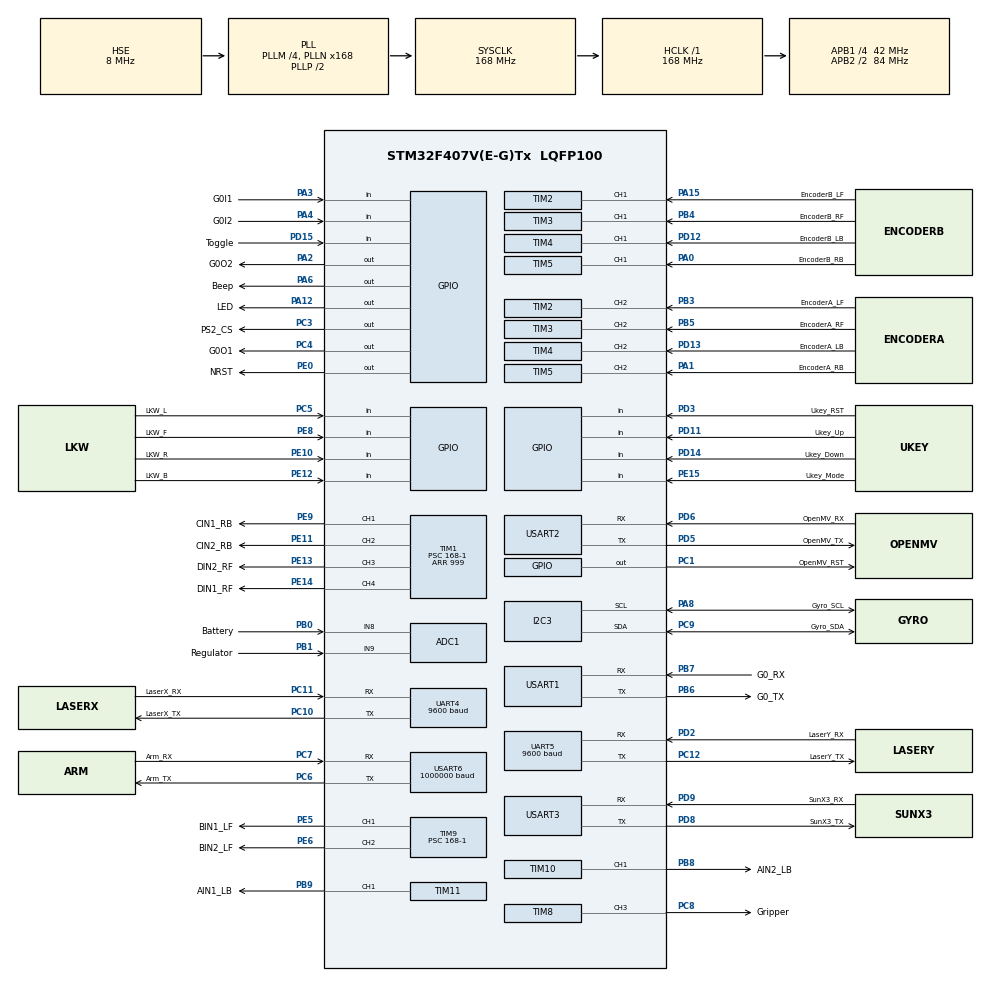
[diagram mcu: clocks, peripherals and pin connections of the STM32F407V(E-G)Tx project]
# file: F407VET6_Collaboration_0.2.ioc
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ADC1.Channel-0\#ChannelRegularConversion=ADC_CHANNEL_8
ADC1.NbrOfConversionFlag=1
ADC1.Rank-0\#ChannelRegularConversion=1
ADC1.SamplingTime-0\#ChannelRegularConversion=ADC_SAMPLETIME_3CYCLES
ADC1.master=1
Dma.Request0=USART1_RX
Dma.Request1=USART1_TX
Dma.Request2=UART4_RX
Dma.Request3=UART4_TX
Dma.Request4=UART5_RX
Dma.Request5=UART5_TX
Dma.Request6=USART3_RX
Dma.Request7=USART3_TX
Dma.Request8=USART6_RX
Dma.Request9=USART6_TX
Dma.UART4_RX.2.Direction=DMA_PERIPH_TO_MEMORY
Dma.UART4_RX.2.FIFOMode=DMA_FIFOMODE_DISABLE
Dma.UART4_RX.2.Instance=DMA1_Stream2
Dma.UART4_RX.2.MemDataAlignment=DMA_MDATAALIGN_BYTE
Dma.UART4_RX.2.MemInc=DMA_MINC_ENABLE
Dma.UART4_RX.2.Mode=DMA_NORMAL
Dma.UART4_RX.2.PeriphDataAlignment=DMA_PDATAALIGN_BYTE
Dma.UART4_RX.2.PeriphInc=DMA_PINC_DISABLE
Dma.UART4_RX.2.Priority=DMA_PRIORITY_HIGH
Dma.UART4_TX.3.Direction=DMA_MEMORY_TO_PERIPH
Dma.UART4_TX.3.FIFOMode=DMA_FIFOMODE_DISABLE
Dma.UART4_TX.3.Instance=DMA1_Stream4
Dma.UART4_TX.3.MemDataAlignment=DMA_MDATAALIGN_BYTE
Dma.UART4_TX.3.MemInc=DMA_MINC_ENABLE
Dma.UART4_TX.3.Mode=DMA_NORMAL
Dma.UART4_TX.3.PeriphDataAlignment=DMA_PDATAALIGN_BYTE
Dma.UART4_TX.3.PeriphInc=DMA_PINC_DISABLE
Dma.UART4_TX.3.Priority=DMA_PRIORITY_LOW
Dma.UART5_RX.4.Direction=DMA_PERIPH_TO_MEMORY
Dma.UART5_RX.4.FIFOMode=DMA_FIFOMODE_DISABLE
Dma.UART5_RX.4.Instance=DMA1_Stream0
Dma.UART5_RX.4.MemDataAlignment=DMA_MDATAALIGN_BYTE
Dma.UART5_RX.4.MemInc=DMA_MINC_ENABLE
Dma.UART5_RX.4.Mode=DMA_NORMAL
Dma.UART5_RX.4.PeriphDataAlignment=DMA_PDATAALIGN_BYTE
Dma.UART5_RX.4.PeriphInc=DMA_PINC_DISABLE
Dma.UART5_RX.4.Priority=DMA_PRIORITY_MEDIUM
Dma.UART5_TX.5.Direction=DMA_MEMORY_TO_PERIPH
Dma.UART5_TX.5.FIFOMode=DMA_FIFOMODE_DISABLE
Dma.UART5_TX.5.Instance=DMA1_Stream7
Dma.UART5_TX.5.MemDataAlignment=DMA_MDATAALIGN_BYTE
Dma.UART5_TX.5.MemInc=DMA_MINC_ENABLE
Dma.UART5_TX.5.Mode=DMA_NORMAL
Dma.UART5_TX.5.PeriphDataAlignment=DMA_PDATAALIGN_BYTE
Dma.UART5_TX.5.PeriphInc=DMA_PINC_DISABLE
Dma.UART5_TX.5.Priority=DMA_PRIORITY_LOW
Dma.USART1_RX.0.Direction=DMA_PERIPH_TO_MEMORY
Dma.USART1_RX.0.FIFOMode=DMA_FIFOMODE_DISABLE
Dma.USART1_RX.0.Instance=DMA2_Stream2
Dma.USART1_RX.0.MemDataAlignment=DMA_MDATAALIGN_BYTE
Dma.USART1_RX.0.MemInc=DMA_MINC_ENABLE
Dma.USART1_RX.0.Mode=DMA_NORMAL
Dma.USART1_RX.0.PeriphDataAlignment=DMA_PDATAALIGN_BYTE
Dma.USART1_RX.0.PeriphInc=DMA_PINC_DISABLE
Dma.USART1_RX.0.Priority=DMA_PRIORITY_LOW
Dma.USART1_TX.1.Direction=DMA_MEMORY_TO_PERIPH
Dma.USART1_TX.1.FIFOMode=DMA_FIFOMODE_DISABLE
Dma.USART1_TX.1.Instance=DMA2_Stream7
Dma.USART1_TX.1.MemDataAlignment=DMA_MDATAALIGN_BYTE
Dma.USART1_TX.1.MemInc=DMA_MINC_ENABLE
Dma.USART1_TX.1.Mode=DMA_NORMAL
Dma.USART1_TX.1.PeriphDataAlignment=DMA_PDATAALIGN_BYTE
Dma.USART1_TX.1.PeriphInc=DMA_PINC_DISABLE
Dma.USART1_TX.1.Priority=DMA_PRIORITY_LOW
Dma.USART3_RX.6.Direction=DMA_PERIPH_TO_MEMORY
Dma.USART3_RX.6.FIFOMode=DMA_FIFOMODE_DISABLE
Dma.USART3_RX.6.Instance=DMA1_Stream1
Dma.USART3_RX.6.MemDataAlignment=DMA_MDATAALIGN_BYTE
Dma.USART3_RX.6.MemInc=DMA_MINC_ENABLE
Dma.USART3_RX.6.Mode=DMA_NORMAL
Dma.USART3_RX.6.PeriphDataAlignment=DMA_PDATAALIGN_BYTE
Dma.USART3_RX.6.PeriphInc=DMA_PINC_DISABLE
Dma.USART3_RX.6.Priority=DMA_PRIORITY_LOW
Dma.USART3_TX.7.Direction=DMA_MEMORY_TO_PERIPH
Dma.USART3_TX.7.FIFOMode=DMA_FIFOMODE_DISABLE
Dma.USART3_TX.7.Instance=DMA1_Stream3
Dma.USART3_TX.7.MemDataAlignment=DMA_MDATAALIGN_BYTE
Dma.USART3_TX.7.MemInc=DMA_MINC_ENABLE
Dma.USART3_TX.7.Mode=DMA_NORMAL
Dma.USART3_TX.7.PeriphDataAlignment=DMA_PDATAALIGN_BYTE
Dma.USART3_TX.7.PeriphInc=DMA_PINC_DISABLE
Dma.USART3_TX.7.Priority=DMA_PRIORITY_LOW
Dma.USART6_RX.8.Direction=DMA_PERIPH_TO_MEMORY
Dma.USART6_RX.8.FIFOMode=DMA_FIFOMODE_DISABLE
Dma.USART6_RX.8.Instance=DMA2_Stream1
Dma.USART6_RX.8.MemDataAlignment=DMA_MDATAALIGN_BYTE
Dma.USART6_RX.8.MemInc=DMA_MINC_ENABLE
Dma.USART6_RX.8.Mode=DMA_NORMAL
Dma.USART6_RX.8.PeriphDataAlignment=DMA_PDATAALIGN_BYTE
Dma.USART6_RX.8.PeriphInc=DMA_PINC_DISABLE
Dma.USART6_RX.8.Priority=DMA_PRIORITY_LOW
Dma.USART6_TX.9.Direction=DMA_MEMORY_TO_PERIPH
Dma.USART6_TX.9.FIFOMode=DMA_FIFOMODE_DISABLE
Dma.USART6_TX.9.Instance=DMA2_Stream6
Dma.USART6_TX.9.MemDataAlignment=DMA_MDATAALIGN_BYTE
Dma.USART6_TX.9.MemInc=DMA_MINC_ENABLE
Dma.USART6_TX.9.Mode=DMA_NORMAL
Dma.USART6_TX.9.PeriphDataAlignment=DMA_PDATAALIGN_BYTE
Dma.USART6_TX.9.PeriphInc=DMA_PINC_DISABLE
Dma.USART6_TX.9.Priority=DMA_PRIORITY_LOW
Mcu.Family=STM32F4
Mcu.Name=STM32F407V(E-G)Tx
Mcu.Package=LQFP100
NVIC.DMA1_Stream0_IRQn=true\:1\:0\:true\:false\:true\:true\:true\:true
NVIC.DMA1_Stream1_IRQn=true\:1\:0\:true\:false\:true\:true\:true\:true
NVIC.DMA1_Stream2_IRQn=true\:1\:0\:true\:false\:true\:true\:true\:true
NVIC.DMA1_Stream3_IRQn=true\:1\:0\:true\:false\:true\:true\:true\:true
NVIC.DMA1_Stream4_IRQn=true\:1\:0\:true\:false\:true\:true\:true\:true
NVIC.DMA1_Stream7_IRQn=true\:1\:0\:true\:false\:true\:true\:true\:true
NVIC.DMA2_Stream1_IRQn=true\:1\:0\:true\:false\:true\:true\:true\:true
NVIC.DMA2_Stream2_IRQn=true\:1\:0\:true\:false\:true\:true\:true\:true
NVIC.DMA2_Stream6_IRQn=true\:1\:0\:true\:false\:true\:true\:true\:true
NVIC.DMA2_Stream7_IRQn=true\:1\:0\:true\:false\:true\:false\:true\:true
NVIC.PriorityGroup=NVIC_PRIORITYGROUP_2
NVIC.TIM6_DAC_IRQn=true\:1\:0\:true\:false\:true\:true\:true\:true
NVIC.TIM7_IRQn=true\:1\:0\:true\:false\:true\:true\:true\:true
NVIC.TIM8_BRK_TIM12_IRQn=true\:1\:0\:true\:false\:true\:true\:true\:true
NVIC.UART4_IRQn=true\:2\:0\:true\:false\:true\:true\:true\:true
NVIC.UART5_IRQn=true\:2\:0\:true\:false\:true\:true\:true\:true
NVIC.USART1_IRQn=true\:2\:0\:true\:false\:true\:true\:true\:true
NVIC.USART3_IRQn=true\:1\:0\:true\:false\:true\:true\:true\:true
NVIC.USART6_IRQn=true\:0\:0\:true\:false\:true\:true\:true\:true
PA0-WKUP.GPIO_Label=EncoderB_RB
PA0-WKUP.Signal=S_TIM5_CH1
PA1.GPIO_Label=EncoderA_RB
PA1.Signal=S_TIM5_CH2
PA12.GPIO_Label=LED
PA12.PinState=GPIO_PIN_SET
PA12.Signal=GPIO_Output
PA13.Mode=Serial_Wire
PA13.Signal=SYS_JTMS-SWDIO
PA14.Mode=Serial_Wire
PA14.Signal=SYS_JTCK-SWCLK
PA15.GPIO_Label=EncoderB_LF
PA15.Signal=S_TIM2_CH1_ETR
PA2.GPIO_Label=G0O2
PA2.PinState=GPIO_PIN_SET
PA2.Signal=GPIO_Output
PA3.GPIO_Label=G0I1
PA3.GPIO_PuPd=GPIO_PULLUP
PA3.Signal=GPIO_Input
PA4.GPIO_Label=G0I2
PA4.GPIO_PuPd=GPIO_PULLUP
PA4.Signal=GPIO_Input
PA6.GPIO_Label=Beep
PA6.Signal=GPIO_Output
PA8.GPIO_Label=Gyro_SCL
PA8.GPIO_Pu=GPIO_NOPULL
PA8.Mode=I2C
PA8.Signal=I2C3_SCL
PB0.GPIO_Label=Battery
PB0.Signal=ADCx_IN8
PB1.GPIO_Label=Regulator
PB1.Signal=ADCx_IN9
PB3.GPIO_Label=EncoderA_LF
PB3.Signal=S_TIM2_CH2
PB4.GPIO_Label=EncoderB_RF
PB4.Signal=S_TIM3_CH1
PB5.GPIO_Label=EncoderA_RF
PB5.Signal=S_TIM3_CH2
PB6.GPIO_Label=G0_TX
PB6.Mode=Asynchronous
PB6.Signal=USART1_TX
PB7.GPIO_Label=G0_RX
PB7.Mode=Asynchronous
PB7.Signal=USART1_RX
PB8.GPIO_Label=AIN2_LB
PB8.Signal=S_TIM10_CH1
PB9.GPIO_Label=AIN1_LB
PB9.Signal=S_TIM11_CH1
PC1.GPIO_Label=OpenMV_RST
PC1.PinState=GPIO_PIN_SET
PC1.Signal=GPIO_Output
PC10.GPIO_Label=LaserX_TX
PC10.Mode=Asynchronous
PC10.Signal=UART4_TX
PC11.GPIO_Label=LaserX_RX
PC11.Mode=Asynchronous
PC11.Signal=UART4_RX
PC12.GPIO_Label=LaserY_TX
PC12.Mode=Asynchronous
PC12.Signal=UART5_TX
PC3.GPIO_Label=PS2_CS
PC3.Signal=GPIO_Output
PC4.GPIO_Label=G0O1
PC4.PinState=GPIO_PIN_SET
PC4.Signal=GPIO_Output
PC5.GPIO_Label=LKW_L
PC5.GPIO_PuPd=GPIO_PULLUP
PC5.Signal=GPIO_Input
PC6.GPIO_Label=Arm_TX
PC6.Mode=Asynchronous
PC6.Signal=USART6_TX
PC7.GPIO_Label=Arm_RX
PC7.Mode=Asynchronous
PC7.Signal=USART6_RX
PC8.GPIO_Label=Gripper
PC8.Signal=S_TIM8_CH3
PC9.GPIO_Label=Gyro_SDA
PC9.Mode=I2C
PC9.Signal=I2C3_SDA
PD11.GPIO_Label=Ukey_Up
PD11.GPIO_PuPd=GPIO_PULLUP
PD11.Signal=GPIO_Input
PD12.GPIO_Label=EncoderB_LB
PD12.Signal=S_TIM4_CH1
PD13.GPIO_Label=EncoderA_LB
PD13.Signal=S_TIM4_CH2
PD14.GPIO_Label=Ukey_Down
PD14.GPIO_PuPd=GPIO_PULLUP
PD14.Signal=GPIO_Input
PD15.GPIO_Label=Toggle
PD15.GPIO_PuPd=GPIO_PULLUP
PD15.Signal=GPIO_Input
PD2.GPIO_Label=LaserY_RX
PD2.Mode=Asynchronous
PD2.Signal=UART5_RX
PD3.GPIO_Label=Ukey_RST
PD3.GPIO_PuPd=GPIO_PULLUP
PD3.Signal=GPIO_Input
PD5.GPIO_Label=OpenMV_TX
PD5.Mode=Asynchronous
PD5.Signal=USART2_TX
PD6.GPIO_Label=OpenMV_RX
PD6.Mode=Asynchronous
PD6.Signal=USART2_RX
PD8.GPIO_Label=SunX3_TX
PD8.Mode=Asynchronous
PD8.Signal=USART3_TX
PD9.GPIO_Label=SunX3_RX
PD9.Mode=Asynchronous
PD9.Signal=USART3_RX
PE0.GPIO_Label=NRST
PE0.GPIO_ModeDefaultOutputPP=GPIO_MODE_OUTPUT_OD
PE0.GPIO_PuPd=GPIO_NOPULL
PE0.PinState=GPIO_PIN_SET
PE0.Signal=GPIO_Output
PE10.GPIO_Label=LKW_R
PE10.GPIO_PuPd=GPIO_PULLUP
PE10.Signal=GPIO_Input
PE11.GPIO_Label=CIN2_RB
PE11.Signal=S_TIM1_CH2
PE12.GPIO_Label=LKW_B
PE12.GPIO_PuPd=GPIO_PULLUP
PE12.Signal=GPIO_Input
PE13.GPIO_Label=DIN2_RF
PE13.Signal=S_TIM1_CH3
PE14.GPIO_Label=DIN1_RF
PE14.Signal=S_TIM1_CH4
PE15.GPIO_Label=Ukey_Mode
PE15.GPIO_PuPd=GPIO_PULLUP
PE15.Signal=GPIO_Input
PE5.GPIO_Label=BIN1_LF
PE5.Signal=S_TIM9_CH1
PE6.GPIO_Label=BIN2_LF
PE6.Signal=S_TIM9_CH2
PE8.GPIO_Label=LKW_F
PE8.GPIO_PuPd=GPIO_PULLUP
PE8.Signal=GPIO_Input
PE9.GPIO_Label=CIN1_RB
PE9.Signal=S_TIM1_CH1
PH0-OSC_IN.Mode=HSE-External-Oscillator
PH0-OSC_IN.Signal=RCC_OSC_IN
PH1-OSC_OUT.Mode=HSE-External-Oscillator
PH1-OSC_OUT.Signal=RCC_OSC_OUT
ProjectManager.HeapSize=0x200
ProjectManager.StackSize=0x400
ProjectManager.TargetToolchain=MDK-ARM V5.32
RCC.48MHZClocksFreq_Value=84000000
RCC.AHBFreq_Value=168000000
RCC.APB1CLKDivider=RCC_HCLK_DIV4
RCC.APB1Freq_Value=42000000
RCC.APB1TimFreq_Value=84000000
RCC.APB2CLKDivider=RCC_HCLK_DIV2
RCC.APB2Freq_Value=84000000
RCC.APB2TimFreq_Value=168000000
RCC.CortexFreq_Value=168000000
RCC.HCLKFreq_Value=168000000
RCC.HSE_VALUE=8000000
RCC.HSI_VALUE=16000000
RCC.LSE_VALUE=32768
RCC.PLLM=4
RCC.PLLN=168
RCC.PLLSourceVirtual=RCC_PLLSOURCE_HSE
RCC.SYSCLKFreq_VALUE=168000000
RCC.SYSCLKSource=RCC_SYSCLKSOURCE_PLLCLK
RCC.VCOOutputFreq_Value=336000000
SH.ADCx_IN8.0=ADC1_IN8,IN8
SH.ADCx_IN9.0=ADC1_IN9,IN9
SH.S_TIM10_CH1.0=TIM10_CH1,PWM Generation1 CH1
SH.S_TIM11_CH1.0=TIM11_CH1,PWM Generation1 CH1
SH.S_TIM1_CH1.0=TIM1_CH1,PWM Generation1 CH1
SH.S_TIM1_CH2.0=TIM1_CH2,PWM Generation2 CH2
SH.S_TIM1_CH3.0=TIM1_CH3,PWM Generation3 CH3
SH.S_TIM1_CH4.0=TIM1_CH4,PWM Generation4 CH4
SH.S_TIM2_CH1_ETR.0=TIM2_CH1,Encoder_Interface
SH.S_TIM2_CH2.0=TIM2_CH2,Encoder_Interface
SH.S_TIM3_CH1.0=TIM3_CH1,Encoder_Interface
SH.S_TIM3_CH2.0=TIM3_CH2,Encoder_Interface
SH.S_TIM4_CH1.0=TIM4_CH1,Encoder_Interface
SH.S_TIM4_CH2.0=TIM4_CH2,Encoder_Interface
SH.S_TIM5_CH1.0=TIM5_CH1,Encoder_Interface
SH.S_TIM5_CH2.0=TIM5_CH2,Encoder_Interface
SH.S_TIM8_CH3.0=TIM8_CH3,PWM Generation3 CH3
SH.S_TIM9_CH1.0=TIM9_CH1,PWM Generation1 CH1
SH.S_TIM9_CH2.0=TIM9_CH2,PWM Generation2 CH2
TIM1.AutoReloadPreload=TIM_AUTORELOAD_PRELOAD_ENABLE
TIM1.Channel-PWM\ Generation1\ CH1=TIM_CHANNEL_1
TIM1.Channel-PWM\ Generation2\ CH2=TIM_CHANNEL_2
TIM1.Channel-PWM\ Generation3\ CH3=TIM_CHANNEL_3
TIM1.Channel-PWM\ Generation4\ CH4=TIM_CHANNEL_4
TIM1.Period=999
TIM1.Prescaler=168-1
TIM10.AutoReloadPreload=TIM_AUTORELOAD_PRELOAD_ENABLE
TIM10.Channel=TIM_CHANNEL_1
TIM10.Period=999
TIM10.Prescaler=168-1
TIM11.AutoReloadPreload=TIM_AUTORELOAD_PRELOAD_ENABLE
TIM11.Channel=TIM_CHANNEL_1
TIM11.Period=999
TIM11.Prescaler=168-1
TIM12.AutoReloadPreload=TIM_AUTORELOAD_PRELOAD_ENABLE
TIM12.Period=1000-1
TIM12.Prescaler=84-1
TIM14.AutoReloadPreload=TIM_AUTORELOAD_PRELOAD_ENABLE
TIM14.Period=84-1
TIM14.Prescaler=0
TIM2.EncoderMode=TIM_ENCODERMODE_TI12
TIM2.IC1Filter=10
TIM2.IC2Filter=10
TIM3.EncoderMode=TIM_ENCODERMODE_TI12
TIM3.IC1Filter=10
TIM3.IC2Filter=10
TIM4.EncoderMode=TIM_ENCODERMODE_TI12
TIM4.IC1Filter=10
TIM4.IC2Filter=10
TIM5.EncoderMode=TIM_ENCODERMODE_TI12
TIM5.IC1Filter=10
TIM5.IC2Filter=10
TIM6.AutoReloadPreload=TIM_AUTORELOAD_PRELOAD_ENABLE
TIM6.Period=1000-1
TIM6.Prescaler=84-1
TIM7.AutoReloadPreload=TIM_AUTORELOAD_PRELOAD_ENABLE
TIM7.Period=1000-1
TIM7.Prescaler=84-1
TIM8.AutoReloadPreload=TIM_AUTORELOAD_PRELOAD_ENABLE
TIM8.Channel-PWM\ Generation3\ CH3=TIM_CHANNEL_3
TIM8.Period=1000-1
TIM8.Prescaler=168-1
TIM9.AutoReloadPreload=TIM_AUTORELOAD_PRELOAD_ENABLE
TIM9.Channel-PWM\ Generation1\ CH1=TIM_CHANNEL_1
TIM9.Channel-PWM\ Generation2\ CH2=TIM_CHANNEL_2
TIM9.Period=999
TIM9.Prescaler=168-1
UART4.BaudRate=9600
UART4.VirtualMode=Asynchronous
UART5.BaudRate=9600
UART5.VirtualMode=Asynchronous
USART1.VirtualMode=VM_ASYNC
USART2.VirtualMode=VM_ASYNC
USART3.VirtualMode=VM_ASYNC
USART6.BaudRate=1000000
USART6.VirtualMode=VM_ASYNC
VP_TIM10_VS_ClockSourceINT.Mode=Enable_Timer
VP_TIM11_VS_ClockSourceINT.Mode=Enable_Timer
VP_TIM12_VS_ClockSourceINT.Mode=Internal
VP_TIM14_VS_ClockSourceINT.Mode=Enable_Timer
VP_TIM1_VS_ClockSourceINT.Mode=Internal
VP_TIM6_VS_ClockSourceINT.Mode=Enable_Timer
VP_TIM7_VS_ClockSourceINT.Mode=Enable_Timer
VP_TIM8_VS_ClockSourceINT.Mode=Internal
VP_TIM9_VS_ClockSourceINT.Mode=Internal
board=custom

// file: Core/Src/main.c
/* USER CODE BEGIN Header */
/**
  ******************************************************************************
  * @file           : main.c
  * @brief          : Main program body
  ******************************************************************************
  * @attention
  *
  * Copyright (c) 2023 STMicroelectronics.
  * All rights reserved.
  *
  * This software is licensed under terms that can be found in the LICENSE file
  * in the root directory of this software component.
  * If no LICENSE file comes with this software, it is provided AS-IS.
  *
  ******************************************************************************
  */
/* USER CODE END Header */
#include "main.h"
#include "adc.h"
#include "dma.h"
#include "i2c.h"
#include "tim.h"
#include "usart.h"
#include "gpio.h"

/* USER CODE BEGIN Includes */
#include <stdio.h>
#include <stdlib.h>
#include "SCServo.h"
#include "motor.h"
#include "control.h"
#include "wt9011g4k.h"
#include "laser.h"
#include "delay.h"

/* USER CODE END Includes */

/* USER CODE BEGIN PV */
//用于定时器6中的变量，用于PID控制
volatile uint32_t PID_TimerCount = 0;

//用于定时器7中的变量，控制不同的动作
volatile uint32_t Task1  = 0;

//PID标志位
uint8_t PID_Flag;

uint8_t Run_Flag=0,Run_Flag_Start=0,Chassis_mode=0,Back_mode=0,ARM_mode=6;

//清除多余编码器数值标志位
uint8_t Clean_Flag=0;

//X轴,Y轴完成调整标志位
uint8_t X_Flag=0,Y_Flag=0;

//激光调试标志位
uint8_t X=0,Y=0;

//陀螺仪开始取值完成标志位
uint8_t Get_Start_WT9011G4K_Angle_Flag=0;

//PID切换标志位
/*
* Change_PID_Flag = 0 -> 用于运动PID
* Change_PID_Flag = 1 -> 用于陀螺仪PID
* Change_PID_Flag = 2 -> 用于激光PID
* Change_PID_Flag = 3 -> 用于拖动
*/
uint8_t Change_PID_Flag=0;

//每个任务标志位
/*
* mission_step = 1  ->出库任务
*
* mission_step = 2  ->扫码电机任务
* mission_step = 3  ->扫码操作任务
*
* mission_step = 4  ->第1轮取料1电机任务
* mission_step = 5  ->第1轮取料1操作任务
*
* mission_step = 6  ->第1轮转弯1操作任务
* mission_step = 7  ->第1轮转弯1微调任务
*
* mission_step = 8  ->第1轮物流放置1电机任务
* mission_step = 9  ->第1轮物流放置1操作任务
*
* mission_step = 10  ->第1轮转弯2操作任务
* mission_step = 11  ->第1轮转弯2微调任务
*
* mission_step = 12 ->第1轮物流放置2电机任务
* mission_step = 13 ->第1轮物流放置2操作任务
*
* mission_step = 14 ->第1轮转弯3操作任务
* mission_step = 15 ->第1轮转弯3微调任务
*
* mission_step = 16 ->第1轮转弯4操作任务
* mission_step = 17 ->第1轮转弯4微调任务
*/
uint16_t mission_step=1;

uint8_t TxBuf[8] = {0xFF,0xFF,0x06,0x03,0x03,0x2A,0xC8,0x01};

//UART 读数据缓冲区
__IO uint8_t uartBuf[128];
__IO int head = 0;
__IO int tail  = 0;

struct
{
	int8_t Beep;
	int8_t Beep_Loop;
}Delay_Flag;		//传感器计时开始标志位

struct
{
	int32_t Beep;
	int32_t Beep_Loop;
}t_ms;					//传感器毫秒计时

struct
{
	int8_t Beep;
	int8_t Beep_Loop;
	int8_t Arm_Up;
	int8_t Arm_Down;
}Flag;					//传感器开启标志位

int16_t Beep_t=0,Beep_Loop=0,Beep_Loop_ms=0,Beep_Loop_t=0;
uint8_t UkeyCount_R=0,UkeyCount_M=0,UkeyCount_U=0,UkeyCount_D=0,UkeyCount_T=0;	//UkeyCount	表示	按键计数变量
uint8_t UkeyFlag_R=0,	UkeyFlag_M=0,	UkeyFlag_U=0,	UkeyFlag_D=0,	UkeyFlag_T=0;		//UkeyFlag	表示	重按键标志,	1代表重新按键,	0为没有重新按键
uint8_t UkeyState_R=0,UkeyState_M=0,UkeyState_U=0,UkeyState_D=0,UkeyState_T=0;	//UkeyState	表示	按键标志,		1代表按下,			0代表松开

/* USER CODE END PV */

void SystemClock_Config(void);
/* USER CODE BEGIN PFP */
void Beep_Init(void);
void Encoder_Init(void);
void RST_Enable(void);
void Beep_Enable(void);
void Beep_ms(uint16_t t);
void Beep_Loop_Cycle(uint16_t Beep_delay,uint8_t Loop,uint16_t Cycle);

/* USER CODE END PFP */

int main(void)
{
  /* USER CODE BEGIN 1 */
	Flag.Arm_Up=0;
  /* USER CODE END 1 */

  /* MCU Configuration--------------------------------------------------------*/

  /* Reset of all peripherals, Initializes the Flash interface and the Systick. */
  HAL_Init();

  /* USER CODE BEGIN Init */
	Beep_Init();
	Flag.Arm_Up=-1;
	Flag.Arm_Down=0;

  /* USER CODE END Init */

  /* Configure the system clock */
  SystemClock_Config();

  /* Initialize all configured peripherals */
  MX_GPIO_Init();
  MX_DMA_Init();
  MX_UART4_Init();
  MX_UART5_Init();
  MX_USART1_UART_Init();
  MX_USART2_UART_Init();
  MX_USART3_UART_Init();
  MX_USART6_UART_Init();
  MX_ADC1_Init();
  MX_TIM1_Init();
  MX_TIM2_Init();
  MX_TIM3_Init();
  MX_TIM4_Init();
  MX_TIM5_Init();
  MX_TIM6_Init();
  MX_TIM8_Init();
  MX_TIM9_Init();
  MX_TIM10_Init();
  MX_TIM11_Init();
  MX_TIM7_Init();
  MX_TIM12_Init();
  MX_TIM14_Init();
  MX_I2C3_Init();
  /* USER CODE BEGIN 2 */

	HAL_TIM_Base_Start_IT(&htim6);
//  HAL_TIM_Base_Start_IT(&htim7);
  HAL_TIM_Base_Start_IT(&htim12);

  //开启PWM波生成
	HAL_TIM_PWM_Start_IT(&htim1,TIM_CHANNEL_1);
	HAL_TIM_PWM_Start_IT(&htim1,TIM_CHANNEL_2);
	HAL_TIM_PWM_Start_IT(&htim1,TIM_CHANNEL_3);
	HAL_TIM_PWM_Start_IT(&htim1,TIM_CHANNEL_4);
	HAL_TIM_PWM_Start_IT(&htim9,TIM_CHANNEL_1);
	HAL_TIM_PWM_Start_IT(&htim9,TIM_CHANNEL_2);
	HAL_TIM_PWM_Start_IT(&htim10,TIM_CHANNEL_1);
	HAL_TIM_PWM_Start_IT(&htim11,TIM_CHANNEL_1);

  //开启编码器
  HAL_TIM_Encoder_Start(&htim2,TIM_CHANNEL_ALL);
  HAL_TIM_Encoder_Start(&htim3,TIM_CHANNEL_ALL);
  HAL_TIM_Encoder_Start(&htim4,TIM_CHANNEL_ALL);
  HAL_TIM_Encoder_Start(&htim5,TIM_CHANNEL_ALL);

  //陀螺仪初始化
  WT9011G4K_Init(&WT9011G4K_Data);
  //X轴激光测距初始化
  LaserX_Init(&LaserX);
  //Y轴激光测距初始化
  LaserY_Init(&LaserY);

  /* USER CODE END 2 */

  /* Infinite loop */
  /* USER CODE BEGIN WHILE */
  while (1)
  {

		RST_Enable();
		Beep_Enable();

//    if(Run_Flag == 0)
//		{
//			if(UkeyState_T == 1||UkeyState_M == 1)
//			{
//				Run_Flag=1;
//				if(HAL_GPIO_ReadPin(Ukey_Mode_GPIO_Port,Ukey_Mode_Pin) == GPIO_PIN_RESET)
//        {
//					Back_mode = 1;
//        }
//				if(HAL_GPIO_ReadPin(Toggle_GPIO_Port,Toggle_Pin) == GPIO_PIN_RESET)
//        {
//          Chassis_mode  = 1;
//        }
//          UkeyState_T=0;
//          UkeyState_M=0;
//			}
//		}

		if(UkeyState_M)
		{
			Beep_Loop_Cycle(30,1,100);
			UkeyState_M=0;
		}
		if(UkeyState_U)
		{
			Beep_Loop_Cycle(30,2,100);
			Flag.Arm_Up=1;
			UkeyState_U=0;
		}
		if(UkeyState_D)
		{
			Beep_Loop_Cycle(30,3,100);
			Flag.Arm_Up=0;
			UkeyState_D=0;
		}
		if(Flag.Arm_Up==1&&Beep_Loop==1)
		{
			WritePosEx(1, 3071, 1200, 0);	//舵机(ID1),以最高速度V=60步/秒,加速度A=20(50*100步/秒^2),运行至P1=3092
			WritePosEx(2, 2047, 1000, 0);
			WritePosEx(3, 2047, 3000, 0);
			WritePosEx(4, 3088, 2000, 0);
			WritePosEx(5, 2047, 2000, 0);

			Flag.Arm_Up=-1;
		}
		if(Flag.Arm_Up==0&&Beep_Loop==1)
		{
//			WritePosEx(1, 3071, 1200, 0);	//舵机(ID1),以最高速度V=60步/秒,加速度A=20(50*100步/秒^2),运行至P1=3092
//			WritePosEx(2, 1620, 1000, 0);
//			WritePosEx(3, 1410, 3000, 0);
//			WritePosEx(4, 3088, 2000, 0);
//			WritePosEx(5, 720, 2000, 0);
//			WritePos(6,1, 2000, 1);

			WritePosEx(1, 3092, 1200, 0);	//舵机(ID1),以最高速度V=60步/秒,加速度A=20(50*100步/秒^2),运行至P1=3092
			WritePosEx(2, 2709, 1000, 0);
			WritePosEx(3, 547, 3000, 0);
			WritePosEx(4, 3088, 2000, 0);
			WritePosEx(5, 877, 2000, 0);

			Flag.Arm_Up=-1;
		}

		if(UkeyState_T)
		{
			Beep_ms(100);
			Chassis_mode  = 1;
//			Beep_Loop_Cycle(30,4,100);
			UkeyState_T=0;
		}

    /*
     *
     * 以下是各种传感器数据处理的区域
     *
     */

      //PID数据处理
      if(PID_Flag == 1)
      {
        //PID控制权在运动PID
        if(Change_PID_Flag==0)
        {
          RF_Position_Incremental_PID();
          LB_Position_Incremental_PID();
          LF_Position_Incremental_PID();
          RB_Position_Incremental_PID();
        }

        //PID控制权在陀螺仪PID
        if(Change_PID_Flag==1 && Get_Start_WT9011G4K_Angle_Flag==1)
        {
          RF_Position_Incremental_PID_WT9011G4K();
          LF_Position_Incremental_PID_WT9011G4K();
          LB_Position_Incremental_PID_WT9011G4K();
          RB_Position_Incremental_PID_WT9011G4K();
        }

        //PID控制权在激光PID
        if(Change_PID_Flag==2 && X==1 && Y==1)
        {
          RF_Position_Incremental_PID_LASER();
          LF_Position_Incremental_PID_LASER();
          LB_Position_Incremental_PID_LASER();
          RB_Position_Incremental_PID_LASER();
        }

        //用于拖动
        if(Change_PID_Flag==3)
        {
        }

        PID_Flag = 0;
      }

    //这里会导致按键不灵敏
    //陀螺仪数据处理
    if(WT9011G4K_Data.Rx_flag == 1)
    {
      WT9011G4K_Process();
      WT9011G4K_Data.Rx_flag=0;
    }

    //X轴激光测距处理函数
    if(LaserX.Rx_flag == 1)
    {
      LaserX_Process();
      LaserX.Rx_flag=0;
    }

    //Y轴激光测距处理函数
    if(LaserY.Rx_flag == 1)
    {
      LaserY_Process();
      LaserY.Rx_flag=0;
    }

    /*
     *
     * 以上是各种传感器数据处理的区域
     *
     */

  /*
   *
   * 以下是任务执行区域
   *
   */
    if(Chassis_mode)
    {
			Encoder_Init();
			if(mission_step == 1 && Task1 <= 10000)	//出库
			{
				speed_4(20,20,20,20);
				go_4(-1320*0.50,-1320*0.50,1320*0.50,1320*0.50);
				if((1320*0.50 - Reality_Position_LB) < 6)
				{
					Chassis_OFF();
					mission_step++;
					Task1 = 0;
					Beep_ms(100);
				}
			}
		  if(mission_step == 2 && Task1 <= 10000)	//到原料区 (*2.5)
			{
				speed_4(20,20,20,20);
				go_4(-1320*5.8,1320*5.8,1320*5.8,-1320*5.8);
				if((1320*5.8 - Reality_Position_LF) < 6)
				{
					Chassis_OFF();
					mission_step++;
					Task1 = 0;
					Beep_ms(100);
				}
			}

			if(mission_step==3 && Task1 <= 3000)
			{
				WritePosEx(1, 3071, 1200, 0);	//舵机(ID1),以最高速度V=60步/秒,加速度A=20(50*100步/秒^2),运行至P1=3092
				WritePosEx(2, 2709, 1000, 0);
				WritePosEx(3, 900, 3000, 0);
				WritePosEx(4, 3088, 2000, 0);
				WritePosEx(5, 877, 2000, 0);
				WritePos(6,1, 2000, 1);
				if(Task1 > 1600)
				{
					mission_step++;
					Task1=0;
					Beep_ms(100);
				}
			}
			if(mission_step==4 && Task1 <= 4000)
			{
				WritePosEx(1, 3071, 1200, 0);	//舵机(ID1),以最高速度V=60步/秒,加速度A=20(50*100步/秒^2),运行至P1=3092
				WritePosEx(2, 1620, 1000, 0);
				WritePosEx(3, 1410, 3000, 0);
				WritePosEx(4, 3088, 2000, 0);
				WritePosEx(5, 720, 2000, 0);
				if(Task1 > 3000)
				{
					mission_step++;
					Task1=0;
					Beep_ms(100);
				}
			}

			if(mission_step==5 && Task1 <= 3000)
			{
				WritePosEx(1, 3071, 1200, 0);	//舵机(ID1),以最高速度V=60步/秒,加速度A=20(50*100步/秒^2),运行至P1=3092
				WritePosEx(2, 2709, 1000, 0);
				WritePosEx(3, 900, 3000, 0);
				WritePosEx(4, 3088, 2000, 0);
				WritePosEx(5, 877, 2000, 0);
				WritePos(6,1, 2000, 1);

				if(Task1 > 2000)
				{
					mission_step++;
					Task1=0;
					Beep_ms(100);
				}
			}
			if(mission_step==6 && Task1 <= 3000)
			{
				WritePosEx(1, 3092, 1200, 0);	//舵机(ID1),以最高速度V=60步/秒,加速度A=20(50*100步/秒^2),运行至P1=3092
				WritePosEx(2, 2709, 1000, 0);
				WritePosEx(3, 547, 3000, 0);
				WritePosEx(4, 3088, 2000, 0);
				WritePosEx(5, 877, 2000, 0);
				WritePos(6,3, 2000, 1);

				if(Task1 > 2000)
				{
					mission_step++;
					Task1=0;
					Beep_ms(100);
				}

			}
    /*
     *扫码的工作区间
     */

      /*
      *                          |->电机运动
      * 功 能 :任务3 -> 取料任务 |
      *                          |->扫码运动
      */
//        if()
//        {
//
//        }
    }

  /*
   *
   * 以上是任务执行区域
   *
   */

//		if(UkeyState_M||UkeyState_U||UkeyState_D||UkeyState_T)
//		{
//			Beep_ms(30);
//			UkeyState_M=0;
//			UkeyState_U=0;
//			UkeyState_D=0;
//			UkeyState_T=0;
//			WritePosEx(1, 3092, 1200, 0);	//舵机(ID1),以最高速度V=60步/秒,加速度A=20(50*100步/秒^2),运行至P1=3092
//			WritePosEx(2, 2709, 1000, 0);
//			WritePosEx(3, 547, 3000, 0);
//			WritePosEx(4, 3088, 2000, 0);
//			WritePosEx(5, 877, 2000, 0);

//		}

    /* USER CODE END WHILE */

  }
}

void SystemClock_Config(void)
{
  RCC_OscInitTypeDef RCC_OscInitStruct = {0};
  RCC_ClkInitTypeDef RCC_ClkInitStruct = {0};

  /** Configure the main internal regulator output voltage
  */
  __HAL_RCC_PWR_CLK_ENABLE();
  __HAL_PWR_VOLTAGESCALING_CONFIG(PWR_REGULATOR_VOLTAGE_SCALE1);

  /** Initializes the RCC Oscillators according to the specified parameters
  * in the RCC_OscInitTypeDef structure.
  */
  RCC_OscInitStruct.OscillatorType = RCC_OSCILLATORTYPE_HSE;
  RCC_OscInitStruct.HSEState = RCC_HSE_ON;
  RCC_OscInitStruct.PLL.PLLState = RCC_PLL_ON;
  RCC_OscInitStruct.PLL.PLLSource = RCC_PLLSOURCE_HSE;
  RCC_OscInitStruct.PLL.PLLM = 4;
  RCC_OscInitStruct.PLL.PLLN = 168;
  RCC_OscInitStruct.PLL.PLLP = RCC_PLLP_DIV2;
  RCC_OscInitStruct.PLL.PLLQ = 4;
  if (HAL_RCC_OscConfig(&RCC_OscInitStruct) != HAL_OK)
  {
    Error_Handler();
  }

  /** Initializes the CPU, AHB and APB buses clocks
  */
  RCC_ClkInitStruct.ClockType = RCC_CLOCKTYPE_HCLK|RCC_CLOCKTYPE_SYSCLK
                              |RCC_CLOCKTYPE_PCLK1|RCC_CLOCKTYPE_PCLK2;
  RCC_ClkInitStruct.SYSCLKSource = RCC_SYSCLKSOURCE_PLLCLK;
  RCC_ClkInitStruct.AHBCLKDivider = RCC_SYSCLK_DIV1;
  RCC_ClkInitStruct.APB1CLKDivider = RCC_HCLK_DIV4;
  RCC_ClkInitStruct.APB2CLKDivider = RCC_HCLK_DIV2;

  if (HAL_RCC_ClockConfig(&RCC_ClkInitStruct, FLASH_LATENCY_5) != HAL_OK)
  {
    Error_Handler();
  }
}

/* USER CODE BEGIN 4 */
void Uart_Send(uint8_t *buf , uint16_t len)
{
	HAL_UART_Transmit_DMA(&huart6,buf,len);

//	HAL_UART_Transmit(&huart6, buf, len, HAL_MAX_DELAY);
}

int16_t Uart_Read(uint8_t *buf , uint16_t len, uint32_t timeout)
{
	if(HAL_UART_Receive(&huart6, buf, len, timeout)==HAL_OK){
		return len;
	}else{
		return 0;
	}
}

void Uart_Flush_CL(void)
{
	head = tail = 0;
}

int16_t Uart_Read_CL(void)
{
	if(head!=tail){
		uint8_t Data = uartBuf[head];
		head =  (head+1)%128;
		return Data;
	}else{
		return -1;
	}
}
void HAL_TIM_PeriodElapsedCallback(TIM_HandleTypeDef *htim)
{

  //判断当进入定时器6中断时
	if(htim->Instance == TIM6)
	{
		if(Delay_Flag.Beep==1)
			t_ms.Beep++;
		if(Delay_Flag.Beep_Loop==1)
			t_ms.Beep_Loop++;

    //10ms处理一次PID
    PID_TimerCount++;
    if(PID_TimerCount %10 ==0)
    {
      PID_Flag = 1;
      PID_TimerCount = 0;
    }

    //任务时间
    Task1++;

		if( HAL_GPIO_ReadPin(Ukey_Mode_GPIO_Port,Ukey_Mode_Pin) == GPIO_PIN_RESET )//如果引脚检测到低电平
		{
			UkeyCount_M++; //按键按下，计数UkeyCount加1
			if(UkeyCount_M>=7) //1ms中断服务函数里运行一次，UkeyCount大于等于7，即按键已稳定按下7ms
			{
				if(UkeyFlag_M==0) //判断有没有重按键，1为有，0为没有
				{
					UkeyState_M=1; //设置按键标志
					UkeyCount_M=0;
					UkeyFlag_M=1; //设置重按键标志
				}
				else //如果重按键，则重新计数
					UkeyCount_M=0;
			}
			else //如果没有稳定按下7ms，则代表没有按下按键
				UkeyState_M=0;
		}
		else //如果一直无检测到低电平，即一直无按键按下
		{
			UkeyCount_M=0; //清零UkeyCount
			UkeyState_M=0; //清除按键标志
			UkeyFlag_M=0; //清除重按键标志
		}

		if( HAL_GPIO_ReadPin(Ukey_Up_GPIO_Port,Ukey_Up_Pin) == GPIO_PIN_RESET )//如果引脚检测到          低电平
		{
			UkeyCount_U++; //按键按下，计数UkeyCount加1
			if(UkeyCount_U>=7) //1ms中断服务函数里运行一次，UkeyCount大于等于7，即按键已稳定按下7ms
			{
				if(UkeyFlag_U==0) //判断有没有重按键，1为有，0为没有
				{
					UkeyState_U=1; //设置按键标志
					UkeyCount_U=0;
					UkeyFlag_U=1; //设置重按键标志
				}
				else //如果重按键，则重新计数
					UkeyCount_U=0;
			}
			else //如果没有稳定按下7ms，则代表没有按下按键
				UkeyState_U=0;
		}
		else //如果一直无检测到低电平，即一直无按键按下
		{
			UkeyCount_U=0; //清零UkeyCount
			UkeyState_U=0; //清除按键标志
			UkeyFlag_U=0; //清除重按键标志
		}

		if( HAL_GPIO_ReadPin(Ukey_Down_GPIO_Port,Ukey_Down_Pin) == GPIO_PIN_RESET )//如果引脚检测到低电平
		{
			UkeyCount_D++; //按键按下，计数UkeyCount加1
			if(UkeyCount_D>=7) //1ms中断服务函数里运行一次，UkeyCount大于等于7，即按键已稳定按下7ms
			{
				if(UkeyFlag_D==0) //判断有没有重按键，1为有，0为没有
				{
					UkeyState_D=1; //设置按键标志
					UkeyCount_D=0;
					UkeyFlag_D=1; //设置重按键标志
				}
				else //如果重按键，则重新计数
					UkeyCount_D=0;
			}
			else //如果没有稳定按下7ms，则代表没有按下按键
				UkeyState_D=0;
		}
		else //如果一直无检测到低电平，即一直无按键按下
		{
			UkeyCount_D=0; //清零UkeyCount
			UkeyState_D=0; //清除按键标志
			UkeyFlag_D=0; //清除重按键标志
		}

		if( HAL_GPIO_ReadPin(Toggle_GPIO_Port,Toggle_Pin) == GPIO_PIN_RESET )//如果引脚检测到          低电平
		{
			UkeyCount_T++; //按键按下，计数UkeyCount加1
			if(UkeyCount_T>=7) //1ms中断服务函数里运行一次，UkeyCount大于等于7，即按键已稳定按下7ms
			{
				if(UkeyFlag_T==0) //判断有没有重按键，1为有，0为没有
				{
					UkeyState_T=1; //设置按键标志
					UkeyCount_T=0;
					UkeyFlag_T=1; //设置重按键标志
				}
				else //如果重按键，则重新计数
					UkeyCount_T=0;
			}
			else //如果没有稳定按下7ms，则代表没有按下按键
				UkeyState_T=0;
		}
		else //如果一直无检测到低电平，即一直无按键按下
		{
			UkeyCount_T=0; //清零UkeyCount
			UkeyState_T=0; //清除按键标志
			UkeyFlag_T=0; //清除重按键标志
		}
	}

}

void RST_Enable(void)
{
	if(HAL_GPIO_ReadPin(Ukey_RST_GPIO_Port,Ukey_RST_Pin)==GPIO_PIN_RESET)
		HAL_GPIO_WritePin(NRST_GPIO_Port,NRST_Pin,GPIO_PIN_RESET);
}
void Beep_Init(void)
{
	Delay_Flag.Beep=0;
	t_ms.Beep=0;
	Flag.Beep=0;
	Delay_Flag.Beep_Loop=0;
	t_ms.Beep_Loop=0;
	Flag.Beep_Loop=0;
}
void Beep_Enable(void)
{
	if(Flag.Beep)
		HAL_GPIO_WritePin(Beep_GPIO_Port,Beep_Pin,GPIO_PIN_SET);
	else
		HAL_GPIO_WritePin(Beep_GPIO_Port,Beep_Pin,GPIO_PIN_RESET);

	if(t_ms.Beep<Beep_t)
	{
		Flag.Beep=1;
		Delay_Flag.Beep=1;
	}
	else
	{
		Flag.Beep=0;
		Delay_Flag.Beep=0;
		Beep_t=0;
		t_ms.Beep=0;
	}

	if(t_ms.Beep_Loop<Beep_Loop*Beep_Loop_ms)
	{
		Flag.Beep_Loop=1;
		Delay_Flag.Beep_Loop=1;
		if(t_ms.Beep_Loop>Beep_Loop_ms)
		{
			Beep_ms(Beep_Loop_t);
			Beep_Loop--;
			t_ms.Beep_Loop-=Beep_Loop_ms;
		}
	}
	else
	{
		Flag.Beep_Loop=0;
		Delay_Flag.Beep_Loop=0;
		Beep_Loop_ms=0;
		t_ms.Beep_Loop=0;
	}
}
void Beep_ms(uint16_t t)
{
	Beep_t=t;
}
void Beep_Loop_Cycle(uint16_t Beep_delay,uint8_t Loop,uint16_t Cycle)
{
	Beep_Loop_t=Beep_delay;	//响的时间		(ms)
	Beep_ms(Beep_delay);		//先响一下保证loop次数的正确
	Beep_Loop=Loop;					//响的次数
	Beep_Loop_ms=Cycle;			//响的周期		(ms)
}

void Encoder_Init(void)
{
	if(Clean_Flag == 0)	//清除启动前的编码器读数
	{
		Clean_Flag = 1;
		Clear_All_Motor_Now_Encoder_val();
		Clean_Task_Encoder_val();
		Task1 = 0;
	}
}

/* USER CODE END 4 */

void Error_Handler(void)
{
  __disable_irq();
  while (1)
  {
  }
}
